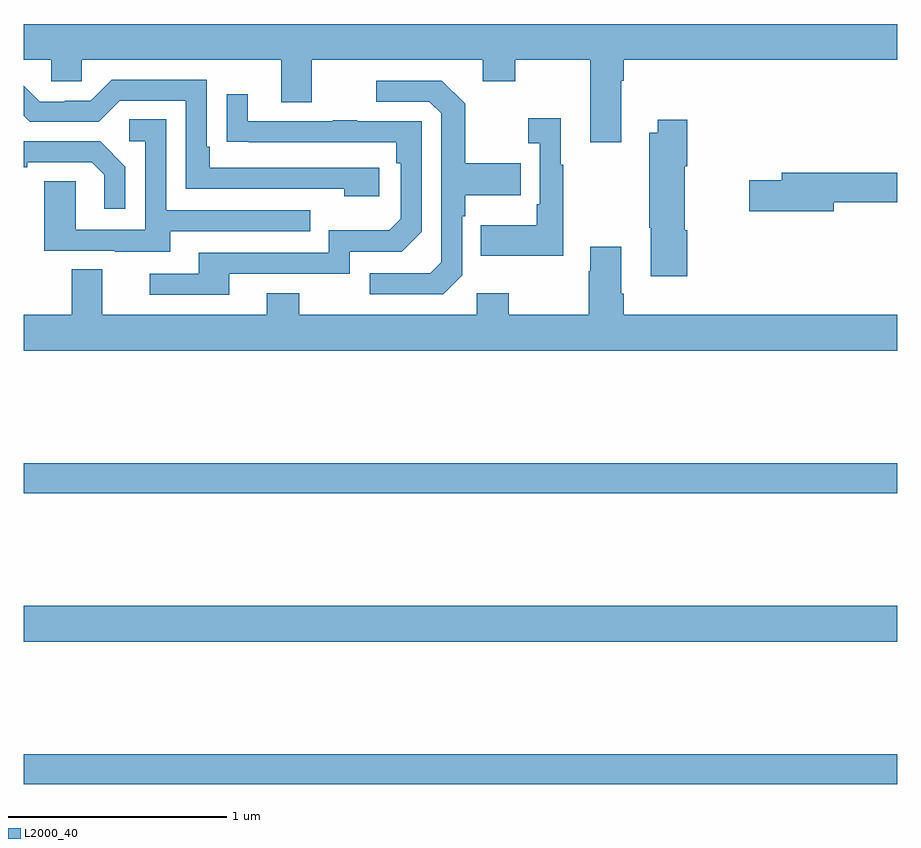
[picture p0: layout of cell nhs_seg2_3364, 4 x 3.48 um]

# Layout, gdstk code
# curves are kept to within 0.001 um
import gdstk
lib = gdstk.Library(unit=1e-6, precision=1e-09)
def R(c, l, rs):  # rectangles x0, y0, x1, y1
    for r in rs: c.add(gdstk.rectangle(r[:2], r[2:], *l))
def P(c, l, *ps):  # polygons
    for p in ps: c.add(gdstk.Polygon(p, *l))
L2000_40 = (2000, 40)

nhs_seg2_3364 = lib.new_cell('nhs_seg2_3364')
R(nhs_seg2_3364, L2000_40, [(287,660.304,291,660.44), (287,660.956,291,661.12), (287,661.636,291,661.772)])
P(nhs_seg2_3364, L2000_40, [(289.735,663.524),(289.748,663.524),(289.748,663.62),(291,663.62),(291,663.784),(287,663.784),(287,663.62),(287.127,663.62),(287.127,663.522),(287.265,663.522),(287.265,663.62),(288.179,663.62),(288.179,663.426),(288.319,663.426),(288.319,663.62),(289.103,663.62),(289.103,663.521),(289.251,663.521),(289.251,663.62),(289.595,663.62),(289.595,663.243),(289.735,663.243)],
  [(288.628,663.126),(287.851,663.126),(287.851,663.223),(287.838,663.223),(287.838,663.528),(287.403,663.528),(287.307,663.432),(287.189,663.432),(287.189,663.429),(287.073,663.429),(287,663.502),(287,663.364),(287.028,663.336),(287.343,663.336),(287.439,663.432),(287.742,663.432),(287.742,663.03),(288.467,663.03),(288.467,662.996),(288.628,662.996)],
  [(289.008,662.634),(289.008,662.903),(289.021,662.903),(289.021,662.999),(289.277,662.999),(289.277,663.147),(289.021,663.147),(289.021,663.419),(288.915,663.525),(288.615,663.525),(288.615,663.429),(288.858,663.429),(288.912,663.375),(288.912,662.694),(288.861,662.643),(288.585,662.643),(288.585,662.547),(288.921,662.547)],
  [(287.941,662.64),(288.492,662.64),(288.492,662.742),(288.732,662.742),(288.822,662.832),(288.822,663.339),(288.527,663.339),(288.527,663.344),(288.415,663.344),(288.415,663.339),(288.025,663.339),(288.025,663.463),(287.929,663.463),(287.929,663.244),(288.706,663.243),(288.706,663.146),(288.726,663.146),(288.726,662.892),(288.673,662.839),(288.396,662.839),(288.396,662.736),(287.801,662.736),(287.801,662.64),(287.577,662.64),(287.577,662.544),(287.941,662.544)],
  [(289.471,663.139),(289.459,663.139),(289.459,663.352),(289.311,663.352),(289.311,663.239),(289.362,663.239),(289.362,662.959),(289.35,662.959),(289.35,662.863),(289.093,662.863),(289.093,662.723),(289.471,662.723)],
  [(287.671,662.835),(288.311,662.835),(288.311,662.931),(287.652,662.931),(287.652,663.347),(287.484,663.347),(287.484,663.246),(287.556,663.246),(287.556,662.841),(287.238,662.841),(287.238,663.065),(287.093,663.065),(287.093,662.745),(287.417,662.745),(287.417,662.741),(287.671,662.741)],
  [(290.039,662.84),(290.026,662.84),(290.026,663.133),(290.039,663.133),(290.039,663.346),(289.904,663.346),(289.904,663.286),(289.864,663.286),(289.864,662.851),(289.871,662.851),(289.871,662.628),(290.039,662.628)],
  [(287.466,663.13),(287.35,663.246),(287,663.246),(287,663.128),(287.017,663.128),(287.017,663.15),(287.312,663.15),(287.369,663.093),(287.369,662.937),(287.466,662.937)],
  [(290.71,662.968),(291,662.968),(291,663.104),(290.471,663.104),(290.471,663.068),(290.322,663.068),(290.322,662.926),(290.71,662.926)],
  [(291,662.452),(289.748,662.452),(289.748,662.548),(289.735,662.548),(289.735,662.764),(289.595,662.764),(289.595,662.651),(289.588,662.651),(289.588,662.452),(289.221,662.452),(289.221,662.551),(289.074,662.551),(289.074,662.452),(288.261,662.452),(288.261,662.551),(288.113,662.551),(288.113,662.452),(287.359,662.452),(287.359,662.66),(287.219,662.66),(287.219,662.452),(287,662.452),(287,662.288),(291,662.288)])

lib.write_gds('nhs_seg2_3364.gds')
